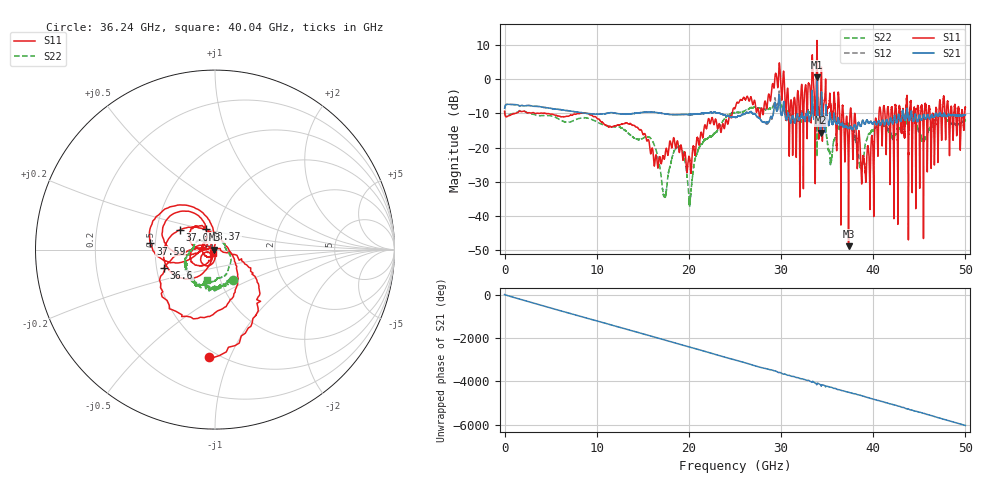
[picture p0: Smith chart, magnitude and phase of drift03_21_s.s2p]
!Created with skrf (http://scikit-rf.org).
# Hz S RI R 50.0
!freq ReS11 ImS11 ReS21 ImS21 ReS12 ImS12 ReS22 ImS22
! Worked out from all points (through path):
!   10001 points, 300 kHz to 50 GHz, reference 50 ohm
!   highest |S21| = 0.54 dB at 33.9 GHz (marker M1); lowest = -15.7 dB at 34.32 GHz (marker M2)
!   group delay of S21, straight-line fit = 335 ps
!   lowest |S11| = -48.8 dB at 37.32 GHz (marker M3), VSWR 1.01, Z = 49.7 - j0.127 ohm
!   |S11| at or under -10 dB: 4.474 GHz to 7.93 GHz (3.456 GHz wide, 55.7 % of centre); 9.026 GHz to 24.7 GHz (15.67 GHz wide, 92.9 % of centre); 38.01 GHz to 40.63 GHz (2.62 GHz wide, 6.66 % of centre) (the widest 3 of 63)
!   |S22| runs from -37.5 to -5.9 dB; largest |S21 - S12| = 0.11
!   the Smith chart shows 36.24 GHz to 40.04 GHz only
!   S11 on the Smith chart (normalised r, x): 36.24 GHz: 0.45, -0.84; 36.6 GHz: 0.55, -0.12; 37.04 GHz: 0.66, +0.15; 37.59 GHz: 0.47, +0.04; 38.37 GHz: 0.88, +0.20; 40.04 GHz: 0.98, -0.04
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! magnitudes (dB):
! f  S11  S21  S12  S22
! 300 kHz  -9.4  -8.5  -8.5  -9.3
! 8.335 GHz  -9.9  -9.8  -9.8  -11.3
! 16.67 GHz  -25.5  -9.8  -9.8  -23.5
! 17.37 GHz  -23.1  -10.1  -10.1  -34.3
! 19.05 GHz  -20.1  -10.3  -10.3  -19.9
! 20.12 GHz  -24.5  -10.3  -10.3  -36.6
! 21.19 GHz  -17.9  -10.1  -10.1  -19.5
! 25 GHz  -8.6  -11.1  -11.1  -9.8
! 31.08 GHz  -6.1  -12.7  -12.7  -10.5
! 33.34 GHz  0.2  -7.6  -7.7  -9.4
! 33.9 GHz  11.4  0.5  0.1  -22.6
! 34.32 GHz  -2.8  -15.7  -15.0  -11.3
! 35.35 GHz  -7.0  -10.6  -10.1  -24.1
! 36.24 GHz  -4.4  -11.8  -11.7  -14.1
! 36.6 GHz  -10.5  -13.1  -13.1  -13.6
! 37.04 GHz  -13.0  -13.8  -14.1  -13.9
! 37.32 GHz  -48.8  -14.4  -14.5  -13.5
! 37.59 GHz  -8.8  -13.9  -13.8  -14.0
! 38.37 GHz  -18.1  -12.8  -12.8  -20.4
! 40.04 GHz  -32.7  -12.8  -12.8  -15.1
! 41.67 GHz  -9.7  -13.3  -13.3  -15.0
! 50 GHz  -8.2  -10.4  -10.5  -12.1
